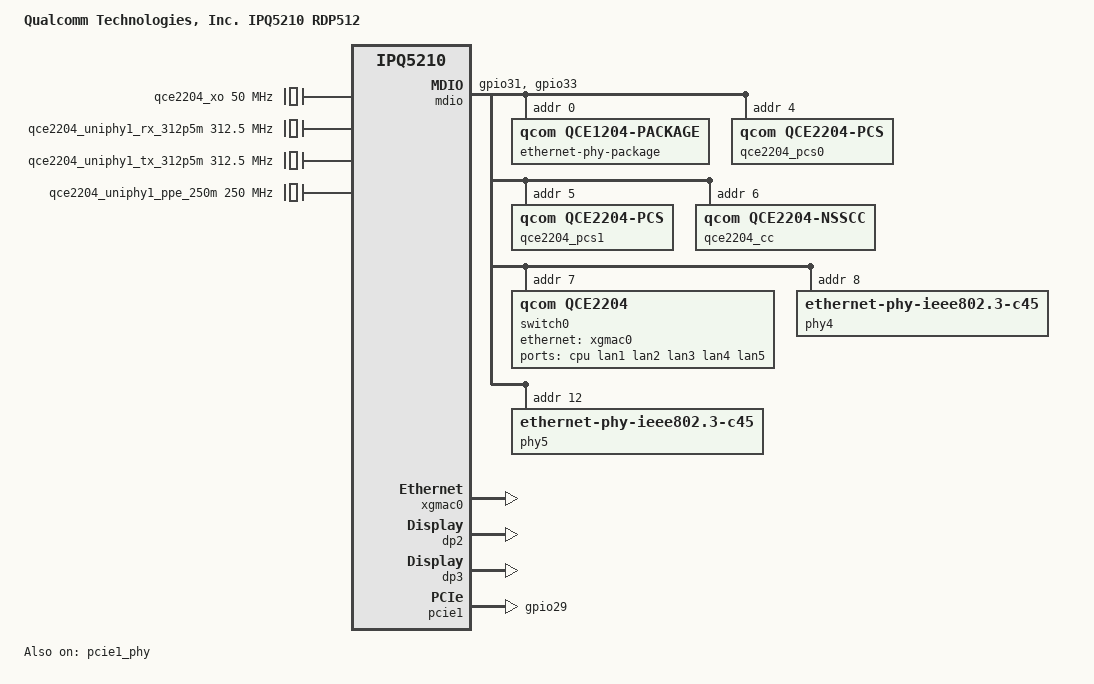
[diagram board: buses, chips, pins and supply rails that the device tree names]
// SPDX-License-Identifier: (GPL-2.0+ OR BSD-3-Clause)
/*
 * IPQ5210 RDP512 board device tree source
 *
 * Copyright (c) 2020-2021 The Linux Foundation. All rights reserved.
 * Copyright (c) Qualcomm Technologies, Inc. and/or its subsidiaries.
 */

/dts-v1/;

#include "ipq5210-rdp-common.dtsi"
#include "ipq5210-default-memory.dtsi"
#include <dt-bindings/clock/qcom,qce2204-nsscc.h>
#include <dt-bindings/clock/qcom,qce2204-pcs.h>
#include <dt-bindings/reset/qcom,qce2204-nsscc.h>

/ {
	model = "Qualcomm Technologies, Inc. IPQ5210 RDP512";
	compatible = "qcom,ipq5210-rdp512", "qcom,ipq5210";

	aliases {
		serial0 = &uart1;
		ethernet0 = "/soc/dp1";
		ethernet1 = "/soc/dp2";
		ethernet2 = "/soc/dp3";
	};

	clocks {
		qce2204_xo: qce2204-xo {
			compatible = "fixed-clock";
			clock-frequency = <50000000>;
			#clock-cells = <0>;
		};

		qce2204_uniphy1_rx_312p5m: qce2204-uniphy1-rx-312p5m {
			compatible = "fixed-clock";
			clock-frequency = <312500000>;
			#clock-cells = <0>;
		};

		qce2204_uniphy1_tx_312p5m: qce2204-uniphy1-tx-312p5m {
			compatible = "fixed-clock";
			clock-frequency = <312500000>;
			#clock-cells = <0>;
		};

		qce2204_uniphy1_ppe_250m: qce2204-uniphy1-ppe-250m {
			compatible = "fixed-clock";
			clock-frequency = <250000000>;
			#clock-cells = <0>;
		};
	};

	soc@0 {
		mdio: mdio@90000 {
			status = "okay";
			pinctrl-0 = <&mdio_pins &mdio_slv_pins>;
			/* gpio24 for Huntington reset, GPIO 8 for Laguna reset */
			phy-reset-gpio = <
				&tlmm 24 GPIO_ACTIVE_LOW
				&tlmm 8 GPIO_ACTIVE_LOW
			>;
			ethernet-phy-package@0 {
				compatible = "qcom,qce1204-package";
				reg = <0x0>;
				qcom,package-mode = "internal";
				#address-cells = <1>;
				#size-cells = <0>;

				phy0: ethernet-phy@0 {
					compatible = "ethernet-phy-ieee802.3-c45";
					reg = <0x0>;
					clocks = <&qce2204_cc QCE2204_NSSCC_MAC1_GEPHY0_TX_CLK>,
						 <&qce2204_cc QCE2204_NSSCC_MAC1_GEPHY0_RX_CLK>,
						 <&qce2204_cc QCE2204_NSSCC_GEPHY0_SYS_CLK>;
					clock-names = "tx_clk",
						      "rx_clk",
						      "sys_clk";
					resets = <&qce2204_cc QCE2204_NSSCC_MAC1_GEPHY0_TX_ARES>,
						 <&qce2204_cc QCE2204_NSSCC_MAC1_GEPHY0_RX_ARES>,
						 <&qce2204_cc QCE2204_NSSCC_GEPHY0_SYS_ARES>;
					reset-names = "tx_reset",
						      "rx_reset",
						      "sys_reset";
				};
				phy1: ethernet-phy@1 {
					compatible = "ethernet-phy-ieee802.3-c45";
					reg = <0x1>;
					clocks = <&qce2204_cc QCE2204_NSSCC_MAC2_GEPHY1_TX_CLK>,
						 <&qce2204_cc QCE2204_NSSCC_MAC2_GEPHY1_RX_CLK>,
						 <&qce2204_cc QCE2204_NSSCC_GEPHY1_SYS_CLK>;
					clock-names = "tx_clk",
						      "rx_clk",
						      "sys_clk";
					resets = <&qce2204_cc QCE2204_NSSCC_MAC2_GEPHY1_TX_ARES>,
						 <&qce2204_cc QCE2204_NSSCC_MAC2_GEPHY1_RX_ARES>,
						 <&qce2204_cc QCE2204_NSSCC_GEPHY1_SYS_ARES>;
					reset-names = "tx_reset",
						      "rx_reset",
						      "sys_reset";
				};
				phy2: ethernet-phy@2 {
					compatible = "ethernet-phy-ieee802.3-c45";
					reg = <0x2>;
					clocks = <&qce2204_cc QCE2204_NSSCC_MAC3_GEPHY2_TX_CLK>,
						 <&qce2204_cc QCE2204_NSSCC_MAC3_GEPHY2_RX_CLK>,
						 <&qce2204_cc QCE2204_NSSCC_GEPHY2_SYS_CLK>;
					clock-names = "tx_clk",
						      "rx_clk",
						      "sys_clk";
					resets = <&qce2204_cc QCE2204_NSSCC_MAC3_GEPHY2_TX_ARES>,
						 <&qce2204_cc QCE2204_NSSCC_MAC3_GEPHY2_RX_ARES>,
						 <&qce2204_cc QCE2204_NSSCC_GEPHY2_SYS_ARES>;
					reset-names = "tx_reset",
						      "rx_reset",
						      "sys_reset";
				};
				phy3: ethernet-phy@3 {
					compatible = "ethernet-phy-ieee802.3-c45";
					reg = <0x3>;
					clocks = <&qce2204_cc QCE2204_NSSCC_MAC4_GEPHY3_TX_CLK>,
						 <&qce2204_cc QCE2204_NSSCC_MAC4_GEPHY3_RX_CLK>,
						 <&qce2204_cc QCE2204_NSSCC_GEPHY3_SYS_CLK>;
					clock-names = "tx_clk",
						      "rx_clk",
						      "sys_clk";
					resets = <&qce2204_cc QCE2204_NSSCC_MAC4_GEPHY3_TX_ARES>,
						 <&qce2204_cc QCE2204_NSSCC_MAC4_GEPHY3_RX_ARES>,
						 <&qce2204_cc QCE2204_NSSCC_GEPHY3_SYS_ARES>;
					reset-names = "tx_reset",
						      "rx_reset",
						      "sys_reset";
				};
			};

			qce2204_pcs0: ethernet-phy@4 {
				compatible = "qcom,qce2204-pcs";
				reg = <4>;
				clocks = <&qce2204_cc QCE2204_NSSCC_SRDS0_SYS_CLK>,
					 <&qce2204_cc QCE2204_NSSCC_MAC5_RX_SRDS0_CLK>,
					 <&qce2204_cc QCE2204_NSSCC_MAC5_TX_SRDS0_CLK>,
					 <&qce2204_cc QCE2204_NSSCC_MAC5_RX_SRDS0_CH0_XGMII_CLK>,
					 <&qce2204_cc QCE2204_NSSCC_MAC5_TX_SRDS0_CH0_XGMII_CLK>;
				clock-names = "sys",
					      "rx",
					      "tx",
					      "xgmii_rx",
					      "xgmii_tx";
				resets = <&qce2204_cc QCE2204_NSSCC_SRDS0_SYS_ARES>,
					 <&qce2204_cc QCE2204_NSSCC_MAC5_RX_SRDS0_ARES>,
					 <&qce2204_cc QCE2204_NSSCC_MAC5_TX_SRDS0_ARES>,
					 <&qce2204_cc QCE2204_NSSCC_MAC5_RX_SRDS0_CH0_XGMII_ARES>,
					 <&qce2204_cc QCE2204_NSSCC_MAC5_TX_SRDS0_CH0_XGMII_ARES>,
					 <&qce2204_cc QCE2204_NSSCC_SRDS0_XPCS_ARES>;
				reset-names = "sys",
					      "rx",
					      "tx",
					      "xgmii_rx",
					      "xgmii_tx",
					      "xpcs";
				initial_mode = "usxgmii";
				#clock-cells = <1>;
				assigned-clocks = <&qce2204_cc QCE2204_NSSCC_SRDS0_SYS_CLK>;
				assigned-clock-rates = <25000000>;
			};

			qce2204_pcs1: ethernet-phy@5 {
				compatible = "qcom,qce2204-pcs";
				reg = <5>;
				clocks = <&qce2204_cc QCE2204_NSSCC_SRDS1_SYS_CLK>,
					 <&qce2204_cc QCE2204_NSSCC_MAC1_SRDS1_CH0_RX_CLK>,
					 <&qce2204_cc QCE2204_NSSCC_MAC1_SRDS1_CH0_TX_CLK>,
					 <&qce2204_cc QCE2204_NSSCC_MAC0_1_SRDS1_CH0_XGMII_RX_CLK>,
					 <&qce2204_cc QCE2204_NSSCC_MAC0_1_SRDS1_CH0_XGMII_TX_CLK>;
				clock-names = "sys",
					      "rx",
					      "tx",
					      "xgmii_rx",
					      "xgmii_tx";
				resets = <&qce2204_cc QCE2204_NSSCC_SRDS1_SYS_ARES>,
					 <&qce2204_cc QCE2204_NSSCC_MAC1_SRDS1_CH0_RX_ARES>,
					 <&qce2204_cc QCE2204_NSSCC_MAC1_SRDS1_CH0_TX_ARES>,
					 <&qce2204_cc QCE2204_NSSCC_MAC0_1_SRDS1_CH0_XGMII_RX_ARES>,
					 <&qce2204_cc QCE2204_NSSCC_MAC0_1_SRDS1_CH0_XGMII_TX_ARES>,
					 <&qce2204_cc QCE2204_NSSCC_SRDS1_XPCS_ARES>;
				reset-names = "sys",
					      "rx",
					      "tx",
					      "xgmii_rx",
					      "xgmii_tx",
					      "xpcs";
				initial_mode = "10gbase-r";
				#clock-cells = <1>;
				assigned-clocks = <&qce2204_cc QCE2204_NSSCC_SRDS1_SYS_CLK>;
				assigned-clock-rates = <25000000>;
			};

			/* Clock controller */
			qce2204_cc: clock-controller@6 {
				compatible = "qcom,qce2204-nsscc";
				reg = <6>;
				#clock-cells = <1>;
				#reset-cells = <1>;
				clocks = <&qce2204_xo>,
					 <&qce2204_pcs0 QCE2204_PCS_RX_CLK>,
					 <&qce2204_pcs0 QCE2204_PCS_TX_CLK>,
					 <&qce2204_pcs1 QCE2204_PCS_RX_CLK>,
					 <&qce2204_pcs1 QCE2204_PCS_TX_CLK>,
					 <&qce2204_uniphy1_ppe_250m>,
					 <0>,
					 <0>,
					 <0>,
					 <&qce2204_uniphy1_tx_312p5m>;
				clock-names = "xo",
					      "uniphy0_rx",
					      "uniphy0_tx",
					      "uniphy1_rx",
					      "uniphy1_tx",
					      "uniphy1_ppe_250m",
					      "uniphy0_rx_312p5m",
					      "uniphy0_tx_312p5m",
					      "uniphy1_rx_312p5m",
					      "uniphy1_tx_312p5m";
				assigned-clocks = <&qce2204_cc QCE2204_NSSCC_SRDS0_RX_MUX_SEL>,
					      <&qce2204_cc QCE2204_NSSCC_SRDS0_TX_MUX_SEL>,
					      <&qce2204_cc QCE2204_NSSCC_SRDS0_XGMII_RX_MUX_SEL>,
					      <&qce2204_cc QCE2204_NSSCC_SRDS0_XGMII_TX_MUX_SEL>;
				assigned-clock-parents = <&qce2204_cc QCE2204_NSSCC_MAC5_RX_DIV_CLK_SRC>,
					      <&qce2204_cc QCE2204_NSSCC_MAC5_TX_DIV_CLK_SRC>,
					      <&qce2204_cc QCE2204_NSSCC_MAC5_RX_DIV_CLK_SRC>,
					      <&qce2204_cc QCE2204_NSSCC_MAC5_TX_DIV_CLK_SRC>;
			};

			switch0@7 {
				compatible = "qcom,qce2204";
				#address-cells = <1>;
				#size-cells = <0>;
				reg = <0x7>;
				status = "okay";

				clocks = <&qce2204_cc QCE2204_NSSCC_AHB_CLK>,
					 <&qce2204_cc QCE2204_NSSCC_SWITCH_CORE_CLK>,
					 <&qce2204_cc QCE2204_NSSCC_SWITCH_IPE_CLK>,
					 <&qce2204_cc QCE2204_NSSCC_SWITCH_BTQ_CLK>,
					 <&qce2204_cc QCE2204_NSSCC_SWITCH_CFG_CLK>,
					 <&qce2204_cc QCE2204_NSSCC_APB_BRIDGE_CLK>;
				clock-names = "ahb",
					      "core",
					      "ipe",
					      "btq",
					      "cfg",
					      "apb";
				resets = <&qce2204_cc QCE2204_NSSCC_SWITCH_CORE_BCR>;
				reset-names = "core";

				ports {
					#address-cells = <1>;
					#size-cells = <0>;

					port@0 {
						reg = <0>;
						label = "cpu";
						ethernet = <&xgmac0>;
						dsa-tag-protocol = "qca_8021q";
						phy-mode = "10gbase-r";
						pcsphy-handle = <&qce2204_pcs1>;
						clocks = <&qce2204_cc QCE2204_NSSCC_MAC0_TX_CLK>,
							 <&qce2204_cc QCE2204_NSSCC_MAC0_RX_CLK>;
						clock-names = "tx",
							      "rx";
						resets = <&qce2204_cc QCE2204_NSSCC_MAC0_TX_ARES>,
							 <&qce2204_cc QCE2204_NSSCC_MAC0_RX_ARES>;
						reset-names = "tx",
							      "rx";
						fixed-link {
							speed = <10000>;
							full-duplex;
							pause;
						};
					};

					port@1 {
						reg = <1>;
						label = "lan1";
						phy-handle = <&phy0>;
						phy-mode = "internal";
						clocks = <&qce2204_cc QCE2204_NSSCC_MAC1_TX_CLK>,
							 <&qce2204_cc QCE2204_NSSCC_MAC1_RX_CLK>;
						clock-names = "tx",
							      "rx";
						resets = <&qce2204_cc QCE2204_NSSCC_MAC1_TX_ARES>,
							 <&qce2204_cc QCE2204_NSSCC_MAC1_RX_ARES>;
						reset-names = "tx",
							      "rx";
					};

					port@2 {
						reg = <2>;
						label = "lan2";
						phy-handle = <&phy1>;
						phy-mode = "internal";
						clocks = <&qce2204_cc QCE2204_NSSCC_MAC2_TX_CLK>,
							 <&qce2204_cc QCE2204_NSSCC_MAC2_RX_CLK>;
						clock-names = "tx",
							      "rx";
						resets = <&qce2204_cc QCE2204_NSSCC_MAC2_TX_ARES>,
							 <&qce2204_cc QCE2204_NSSCC_MAC2_RX_ARES>;
						reset-names = "tx",
							      "rx";
					};

					port@3 {
						reg = <3>;
						label = "lan3";
						phy-handle = <&phy2>;
						phy-mode = "internal";
						clocks = <&qce2204_cc QCE2204_NSSCC_MAC3_TX_CLK>,
							 <&qce2204_cc QCE2204_NSSCC_MAC3_RX_CLK>;
						clock-names = "tx",
							      "rx";
						resets = <&qce2204_cc QCE2204_NSSCC_MAC3_TX_ARES>,
							 <&qce2204_cc QCE2204_NSSCC_MAC3_RX_ARES>;
						reset-names = "tx",
							      "rx";
					};

					port@4 {
						reg = <4>;
						label = "lan4";
						phy-handle = <&phy3>;
						phy-mode = "internal";
						clocks = <&qce2204_cc QCE2204_NSSCC_MAC4_TX_CLK>,
							 <&qce2204_cc QCE2204_NSSCC_MAC4_RX_CLK>;
						clock-names = "tx",
							      "rx";
						resets = <&qce2204_cc QCE2204_NSSCC_MAC4_TX_ARES>,
							 <&qce2204_cc QCE2204_NSSCC_MAC4_RX_ARES>;
						reset-names = "tx",
							      "rx";
					};

					port@5 {
						reg = <5>;
						label = "lan5";
						phy-handle = <&phy5>;
						pcsphy-handle = <&qce2204_pcs0>;
						phy-mode = "usxgmii";
						clocks = <&qce2204_cc QCE2204_NSSCC_MAC5_TX_CLK>,
							 <&qce2204_cc QCE2204_NSSCC_MAC5_RX_CLK>;
						clock-names = "tx",
							      "rx";
						resets = <&qce2204_cc QCE2204_NSSCC_MAC5_TX_ARES>,
							 <&qce2204_cc QCE2204_NSSCC_MAC5_RX_ARES>;
						reset-names = "tx",
							      "rx";
					};
				};
			};

			phy4: ethernet-phy@8 {
				reg = <8>;
				compatible = "ethernet-phy-ieee802.3-c45";
			};

			/* Laguna pluggable module on QCE2204 port5 */
			phy5: ethernet-phy@12 {
				reg = <12>;
				compatible = "ethernet-phy-ieee802.3-c45";
			};
		};

		ess-instance {
			num_devices = <0x2>;

			ess_switch: ess-switch@3a000000 {
				switch_lan_bmp = <0x22>; /* lan port bitmap */
				switch_wan_bmp = <0x40>; /* wan port bitmap */
				switch_mac_mode = <0xe>; /* 10gbase-r for connection with qce2204 */
				switch_mac_mode1 = <0xd>; /* USXGMII for Laguna PHY */
				switch_mac_mode2 = <0xff>;
				tm_tick_mode = <1>; /* 3 X 10G TM mode */

				qcom,port_phyinfo {
					port@0 {
						port_id = <1>;
						forced-speed = <10000>;
						forced-duplex = <1>;
						switch_external {
							switch_handle = <&switch1>;
							switch_cpu_port = <0>;
						};
						fixed-link {
							speed = <10000>;
							full-duplex;
							pause;
						};
					};
					port@4 {
						port_id = <5>;
						phy_address = <8>;
						phy-handle = <&phy4>;
						phy-mode = "usxgmii";
						ethernet-phy-ieee802.3-c45;
					};
					port@5 {
						port_id = <6>;
						forced-speed = <10000>;
						forced-duplex = <1>;
						fixed-link {
							speed = <10000>;
							full-duplex;
							pause;
						};
					};
				};
			};

			switch1: ess-switch1@1 {
				compatible = "qcom,ess-switch-qce22xx";
				reg = <0x7>;
				device_id = <1>;
				switch_access_mode = "mdio";
				mdio-bus = <&mdio>;
				switch_cpu_bmp = <0x1>;  /* cpu port bitmap */
				switch_lan_bmp = <0x3e>; /* lan port bitmap */
				switch_wan_bmp = <0x0>;  /* wan port bitmap */
				switch_mac_mode = <0xe>; /* 10gbase-r for connection with IPQ5210 */
				switch_mac_mode1 = <0xd>; /* USXGMII for Laguna pluggable module */

				qcom,port_phyinfo {
					port@0 {
						port_id = <0>;
						forced-speed = <10000>;
						forced-duplex = <1>;
					};
					port@1 {
						port_id = <1>;
						phy_address = <0>;
						ethernet-phy-ieee802.3-c45;
					};
					port@2 {
						port_id = <2>;
						phy_address = <1>;
						ethernet-phy-ieee802.3-c45;
					};
					port@3 {
						port_id = <3>;
						phy_address = <2>;
						ethernet-phy-ieee802.3-c45;
					};
					port@4 {
						port_id = <4>;
						phy_address = <3>;
						ethernet-phy-ieee802.3-c45;
					};
					port@5 {
						port_id = <5>;
						phy_address = <12>;
						ethernet-phy-ieee802.3-c45;
					};
				};
			};
		};

		xgmac0: dp1 {
			device_type = "network";
			compatible = "qcom,nss-dp";
			qcom,id = <1>;
			reg = <0x3a500000 0x4000>;
			qcom,mactype = <1>;
			local-mac-address = [000000000000];
			qcom,mht-dev = <1>;
			qcom,is_switch_connected = <1>;
			qcom,ppe-offload-disabled = <1>;
		};

		dp2 {
			device_type = "network";
			compatible = "qcom,nss-dp";
			qcom,id = <5>;
			reg = <0x3a504000 0x4000>;
			qcom,mactype = <1>;
			local-mac-address = [000000000000];
			qcom,ppe-offload-disabled = <0>;
			pinctrl-0 = <&pps_state>;
			pinctrl-names = "default";
			interrupts = <GIC_SPI 359 IRQ_TYPE_EDGE_RISING>;
			interrupt-names = "pps_in";
			clocks = <&nsscc NSS_CC_XGMAC1_PTP_REF_CLK>;
			clock-names = "ptp";
		};

		dp3 {
			device_type = "network";
			compatible = "qcom,nss-dp";
			qcom,id = <6>;
			reg = <0x3a508000 0x4000>;
			qcom,mactype = <1>;
			local-mac-address = [000000000000];
			qcom,ppe-offload-disabled = <0>;
			qcom,gem_port = <1>;
			clocks = <&nsscc NSS_CC_XGMAC2_PTP_REF_CLK>;
			clock-names = "ptp";
		};
	};
};

&tlmm {
	audio_pins_pri: audio_pinmux_pri {
		mux_1 {
			pins = "gpio34";
			function = "audio_pri_d0";
			drive-strength = <16>;
			bias-pull-down;
		};

		mux_2 {
		    pins = "gpio35";
		    function = "audio_pri_d1";
		    drive-strength = <8>;
		    bias-pull-down;
		};

		mux_3 {
		    pins = "gpio36";
		    function = "audio_pri_fsync";
		    drive-strength = <8>;
		    bias-pull-down;
		};

		mux_4 {
		    pins = "gpio37";
		    function = "audio_pri_pclk";
		    drive-strength = <8>;
		    bias-pull-down;
		};
	};

	pcie1_default_state: pcie1-default-state {
		pins = "gpio29";
		function = "gpio";
		drive-strength = <6>;
		bias-pull-up;
		output-low;
	};

	mdio_slv_pins: mdio-slv-state {
		mux_0 {
			pins = "gpio31";
			function = "mdc_slv0";
			drive-strength = <6>;
			bias-pull-up;
		};

		mux_1 {
			pins = "gpio33";
			function = "mdio_slv0";
			drive-strength = <6>;
			bias-pull-up;
		};
	};

	se4_spi_pins: se4-spi-pins {
		spi_clk {
			pins = "gpio40";
			function = "qup_se4_l2";
			drive-strength = <4>;
			bias-pull-down;
		};
		spi_cs {
			pins = "gpio41";
			function = "qup_se4_l3";
			drive-strength = <4>;
			bias-pull-up;
		};
		spi_miso {
			pins = "gpio42";
			function = "qup_se4_l0";
			drive-strength = <16>;
			bias-pull-down;
		};
		spi_mosi {
			pins = "gpio43";
			function = "qup_se4_l1";
			drive-strength = <16>;
			bias-pull-down;
		};
	};

	qup_uart1_default: qup-uart1-default-state {
		qup_uart1_tx {
			pins = "gpio39";
			function = "qup_se1_l2";
			drive-strength = <6>;
			bias-pull-down;
		};

		qup_uart1_rx {
			pins = "gpio38";
			function = "qup_se1_l3";
			drive-strength = <6>;
			bias-pull-up;
		};
	};
};

&spi1 {
	compatible = "qcom,geni-spi";
	pinctrl-0 = <&se4_spi_pins>;
	pinctrl-names = "default";
	status = "disabled";

	spidev1: spi@0 {
		compatible = "qti,spidev";
		reg = <0>;
		spi-max-frequency = <9600000>;
	};
};

&pcm {
	pinctrl-0 = <&audio_pins_pri>;
	pinctrl-names = "primary";
	status = "disabled";
};

&pcie1_phy {
	status = "okay";
};

&pcie1 {
	pinctrl-0 = <&pcie1_default_state>;
	perst-gpio = <&tlmm 29 GPIO_ACTIVE_LOW>;
	status = "okay";

	pcie1_rp {
		reg = <0 0 0 0 0>;
	};
};

&spi0 {
	status = "disabled";
};
